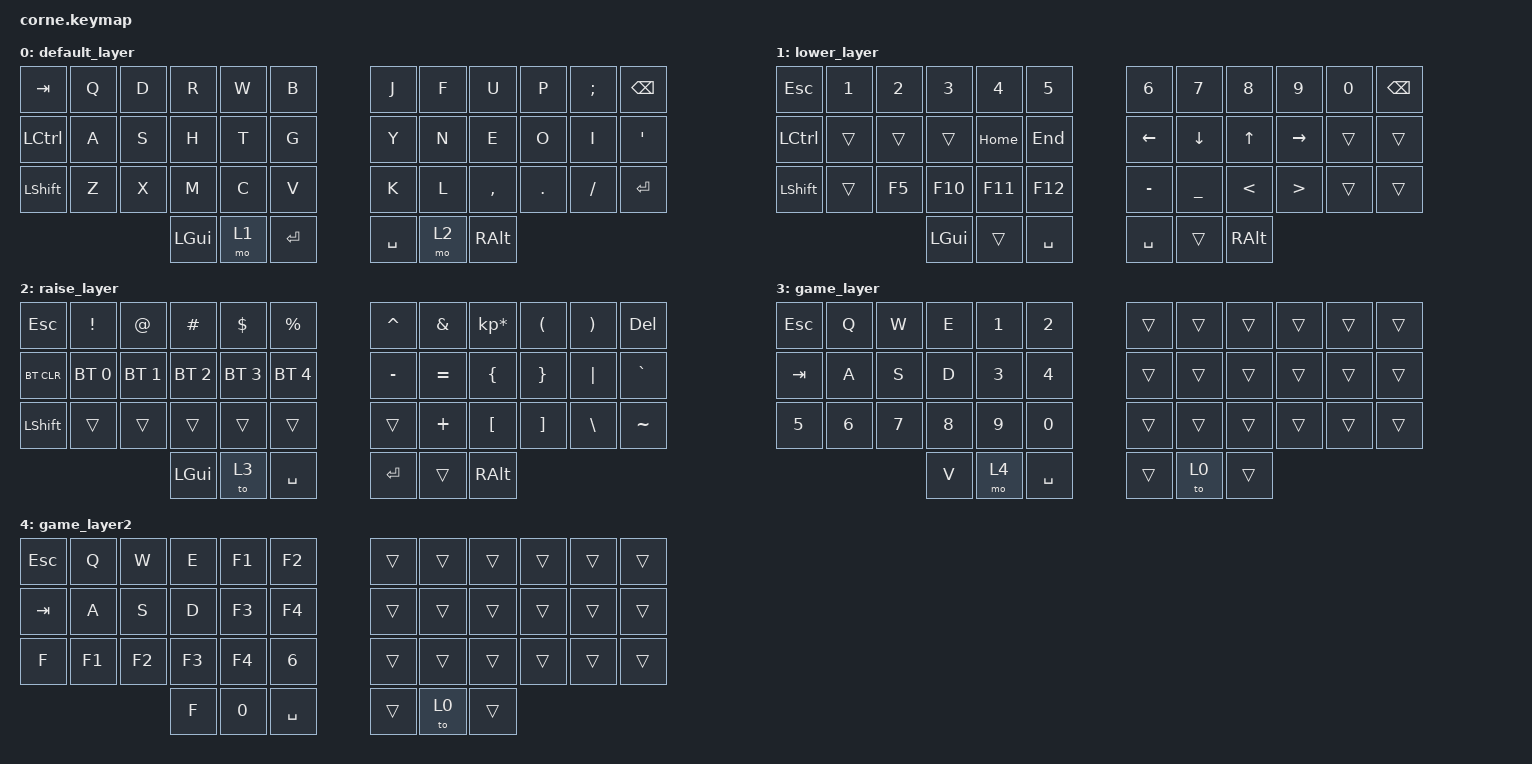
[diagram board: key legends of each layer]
/*
 * Copyright (c) 2020 The ZMK Contributors
 *
 * SPDX-License-Identifier: MIT
 */

#include <behaviors.dtsi>
#include <dt-bindings/zmk/keys.h>
#include <dt-bindings/zmk/bt.h>

/ {
        keymap {
                compatible = "zmk,keymap";

                default_layer {
// -----------------------------------------------------------------------------------------
// |  TAB |  Q  |  D  |  R  |  W  |  B  |   |  J  |  F   |  U  |  P  |  ;  | BKSP |
// | CTRL |  A  |  S  |  H  |  T  |  G  |   |  Y  |  N   |  E  |  O  |  I  |  '   |
// | SHFT |  Z  |  X  |  M  |  C  |  V  |   |  K  |  L   |  ,  |  .  |  /  | SHFT |
//                    | GUI | LWR | SPC |   | ENT | RSE  | ALT |
                        bindings = <
   &kp TAB   &kp Q &kp D &kp R &kp W &kp B   &kp J &kp F  &kp U     &kp P   &kp SEMI    &kp BSPC
   &kp LCTRL &kp A &kp S &kp H &kp T &kp G   &kp Y &kp N  &kp E     &kp O   &kp I &kp SQT
   &kp LSHFT &kp Z &kp X &kp M &kp C &kp V   &kp K &kp L  &kp COMMA &kp DOT &kp FSLH &kp RET
                  &kp LGUI &mo 1 &kp RET   &kp SPACE &mo 2 &kp RALT
                        >;
                };
                lower_layer {
// -----------------------------------------------------------------------------------------
// |  ESC |  1  |  2  |  3  |  4  |  5  |   |  6  |  7  |  8  |  9  |  0  | BKSP |
// | BTCLR| BT1 | BT2 | BT3 | BT4 | BT5 |   | LFT | DWN |  UP | RGT |     |      |
// | SHFT |     |     |     |     |     |   |     |     |     |     |     |      |
//                    | GUI |     | SPC |   | ENT |     | ALT |
                        bindings = <
   &kp ESC    &kp N1       &kp N2       &kp N3       &kp N4       &kp N5            &kp N6   &kp N7   &kp N8 &kp N9    &kp N0 &kp BSPC
   &kp LCTRL &trans    &trans  &trans    &kp HOME    &kp END      &kp LEFT &kp DOWN &kp UP &kp RIGHT &trans &trans
   &kp LSHFT  &trans       &kp F5       &kp F10       &kp F11       &kp F12            &kp MINUS   &kp UNDERSCORE   &kp LESS_THAN &kp GREATER_THAN    &trans &trans
                                        &kp LGUI     &trans       &kp SPACE         &kp SPACE &trans &kp RALT
                        >;
                };

                raise_layer {
// -----------------------------------------------------------------------------------------
// |  ESC |  !  |  @  |  #  |  $  |  %  |   |  ^  |  &  |  *  |  (  |  )  | BKSP |
// | CTRL |     |     |     |     |     |   |  -  |  =  |  {  |  }  | "|" |  `   |
// | SHFT |     |     |     |     |     |   |  _  |  +  |  [  |  ]  |  \  |  ~   | // TODO: Fix this row when &mkp is committed
//                    | GUI |     | SPC |   | ENT |     | ALT |
                        bindings = <
   &kp  ESC  &kp EXCL  &kp AT  &kp HASH  &kp DLLR  &kp PRCNT   &kp CARET &kp AMPS  &kp KP_MULTIPLY &kp LPAR &kp RPAR &kp DEL
   &bt BT_CLR &bt BT_SEL 0 &bt BT_SEL 1 &bt BT_SEL 2 &bt BT_SEL 3 &bt BT_SEL 4      &kp MINUS &kp EQUAL &kp LBRC        &kp RBRC &kp PIPE &kp GRAVE
   &kp LSHFT &trans    &trans  &trans    &trans    &trans      &trans    &kp PLUS    &kp LBKT  &kp RBKT   &kp BSLH &kp TILDE
                                   &kp LGUI &to 3 &kp SPACE   &kp RET &trans &kp RALT
                        >;
                };

                game_layer {
// -----------------------------------------------------------------------------------------
// |  ESC |  !  |  @  |  #  |  $  |  %  |   |  ^  |  &  |  *  |  (  |  )  | BKSP |
// | CTRL |     |     |     |     |     |   |  -  |  =  |  {  |  }  | "|" |  `   |
// | SHFT |     |     |     |     |     |   |  _  |  +  |  [  |  ]  |  \  |  ~   | // TODO: Fix this row when &mkp is committed
//                    | GUI |     | SPC |   | ENT |     | ALT |
                        bindings = <
                &kp ESC   &kp Q &kp W &kp E &kp N1 &kp N2   &trans &trans  &trans     &trans   &trans    &trans
                &kp TAB &kp A &kp S &kp D &kp N3 &kp N4   &trans &trans  &trans     &trans   &trans &trans
                &kp N5 &kp N6 &kp N7 &kp N8 &kp N9 &kp N0   &trans &trans  &trans &trans &trans &trans
                                   &kp V &mo 4 &kp SPACE   &trans &to 0 &trans
                        >;
                };

                game_layer2 {
// -----------------------------------------------------------------------------------------
// |  ESC |  !  |  @  |  #  |  $  |  %  |   |  ^  |  &  |  *  |  (  |  )  | BKSP |
// | CTRL |     |     |     |     |     |   |  -  |  =  |  {  |  }  | "|" |  `   |
// | SHFT |     |     |     |     |     |   |  _  |  +  |  [  |  ]  |  \  |  ~   | // TODO: Fix this row when &mkp is committed
//                    | GUI |     | SPC |   | ENT |     | ALT |
                        bindings = <
                &kp ESC   &kp Q &kp W &kp E &kp F1 &kp F2   &trans &trans  &trans     &trans   &trans    &trans
                &kp TAB &kp A &kp S &kp D &kp F3 &kp F4   &trans &trans  &trans     &trans   &trans &trans
                &kp F &kp F1 &kp F2 &kp F3 &kp F4 &kp N6   &trans &trans  &trans &trans &trans &trans
                                   &kp F &kp N0 &kp SPACE   &trans &to 0 &trans
                        >;
                };
        };
};
